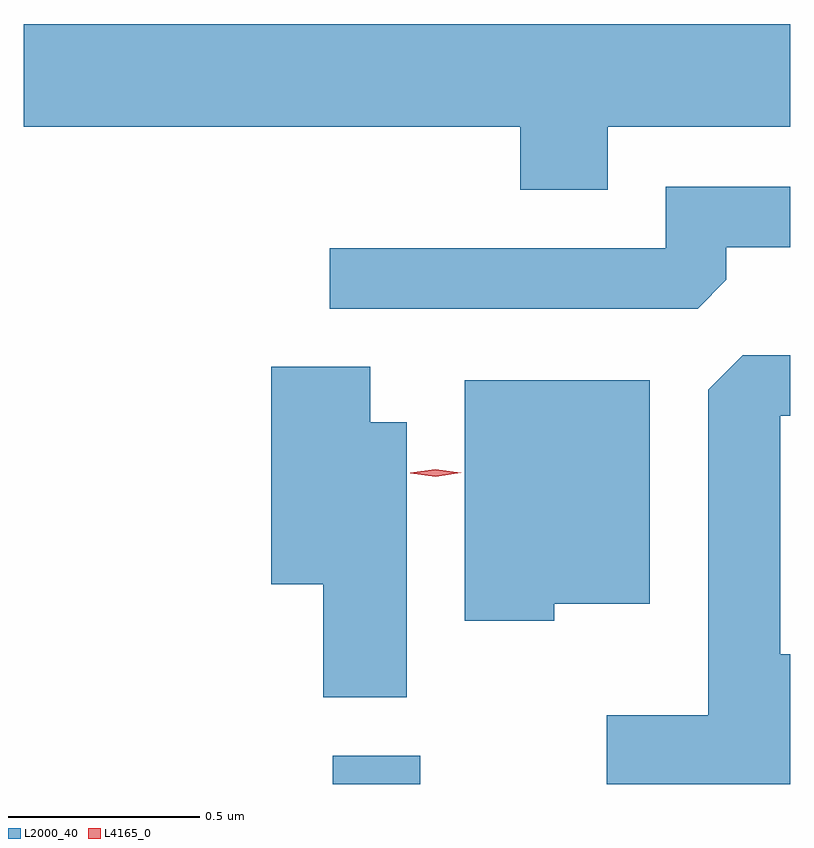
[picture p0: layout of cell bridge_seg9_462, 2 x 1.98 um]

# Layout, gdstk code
import gdstk
lib = gdstk.Library(unit=1e-6, precision=1e-09)
def R(c, l, rs):  # rectangles x0, y0, x1, y1
    for r in rs: c.add(gdstk.rectangle(r[:2], r[2:], *l))
def P(c, l, *ps):  # polygons
    for p in ps: c.add(gdstk.Polygon(p, *l))
L2000_40 = (2000, 40)
L4165_0 = (4165, 0)

bridge_seg9_462 = lib.new_cell('bridge_seg9_462')
R(bridge_seg9_462, L2000_40, [(301.901,2034.5,302.129,2034.574)])
P(bridge_seg9_462, L2000_40, [(302.619,2036.216),(303.095,2036.216),(303.095,2036.484),(301.095,2036.484),(301.095,2036.216),(302.391,2036.216),(302.391,2036.051),(302.619,2036.051)],
  [(302.929,2035.817),(302.929,2035.901),(303.095,2035.901),(303.095,2036.059),(302.771,2036.059),(302.771,2035.899),(301.893,2035.899),(301.893,2035.741),(302.854,2035.741)],
  [(303.095,2034.839),(303.069,2034.839),(303.069,2035.461),(303.095,2035.461),(303.095,2035.619),(302.972,2035.619),(302.881,2035.529),(302.881,2034.679),(302.616,2034.679),(302.616,2034.5),(303.095,2034.5)],
  [(302.094,2035.444),(301.999,2035.444),(301.999,2035.589),(301.741,2035.589),(301.741,2035.021),(301.876,2035.021),(301.876,2034.726),(302.094,2034.726)],
  [(302.479,2034.971),(302.729,2034.971),(302.729,2035.554),(302.246,2035.554),(302.246,2034.926),(302.479,2034.926)])
P(bridge_seg9_462, L4165_0, [(302.17,2035.302),(302.103,2035.311),(302.103,2035.312),(302.103,2035.312),(302.169,2035.322),(302.235,2035.313),(302.236,2035.313),(302.235,2035.312)])

lib.write_gds('bridge_seg9_462.gds')
